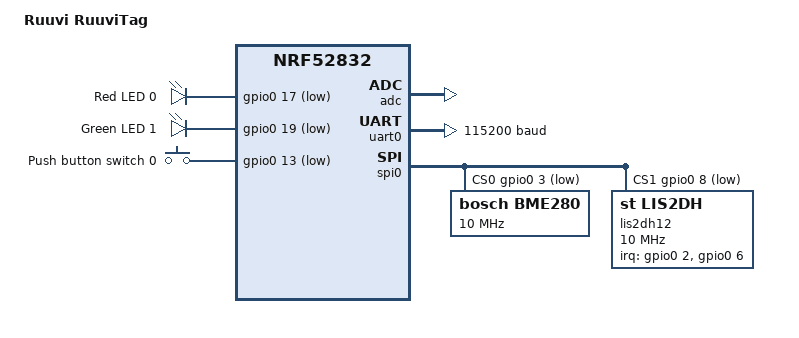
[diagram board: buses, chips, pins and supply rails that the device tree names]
/*
 * Copyright (c) 2020 Ruuvi Innovations Ltd (Oy)
 *
 * SPDX-License-Identifier: Apache-2.0
 */

/dts-v1/;
#include <nordic/nrf52832_qfaa.dtsi>
#include "ruuvi_ruuvitag-pinctrl.dtsi"
#include <zephyr/dt-bindings/input/input-event-codes.h>

/ {
	model = "Ruuvi RuuviTag";
	compatible = "ruuvi,ruuvitag";

	chosen {
		zephyr,console = &uart0;
		zephyr,shell-uart = &uart0;
		zephyr,uart-mcumgr = &uart0;
		zephyr,bt-mon-uart = &uart0;
		zephyr,bt-c2h-uart = &uart0;
		zephyr,sram = &sram0;
		zephyr,flash = &flash0;
		zephyr,code-partition = &slot0_partition;
	};

	/* These aliases are provided for compatibility with samples */
	aliases {
		led0 = &led0;
		led1 = &led1;
		sw0 = &button0;
		watchdog0 = &wdt0;
		accel0 = &lis2dh12;
	};

	leds {
		compatible = "gpio-leds";

		led0: led_0 {
			gpios = <&gpio0 17 GPIO_ACTIVE_LOW>;
			label = "Red LED 0";
		};

		led1: led_1 {
			gpios = <&gpio0 19 GPIO_ACTIVE_LOW>;
			label = "Green LED 1";
		};
	};

	buttons {
		compatible = "gpio-keys";

		button0: button_0 {
			gpios = <&gpio0 13 (GPIO_PULL_UP | GPIO_ACTIVE_LOW)>;
			label = "Push button switch 0";
			zephyr,code = <INPUT_KEY_0>;
		};
	};
};

&reg {
	regulator-initial-mode = <NRF5X_REG_MODE_DCDC>;
};

&adc {
	status = "okay";
};

&gpiote {
	status = "okay";
};

&gpio0 {
	status = "okay";
};

&uart0 {
	status = "okay";
	compatible = "nordic,nrf-uart";
	current-speed = <115200>;
	pinctrl-0 = <&uart0_default>;
	pinctrl-1 = <&uart0_sleep>;
	pinctrl-names = "default", "sleep";
};

&spi0 {
	compatible = "nordic,nrf-spi";
	status = "okay";
	cs-gpios = <&gpio0 3 GPIO_ACTIVE_LOW>, <&gpio0 8 GPIO_ACTIVE_LOW>;

	pinctrl-0 = <&spi0_default>;
	pinctrl-1 = <&spi0_sleep>;
	pinctrl-names = "default", "sleep";

	bme280@0 {
		compatible = "bosch,bme280";
		reg = <0>;
		spi-max-frequency = <10000000>;
	};

	lis2dh12: lis2dh12@1 {
		compatible = "st,lis2dh", "st,lis2dh12";
		reg = <1>;
		spi-max-frequency = <10000000>;
		irq-gpios = <&gpio0 2 GPIO_ACTIVE_HIGH>, <&gpio0 6 GPIO_ACTIVE_HIGH>;
	};
};

&flash0 {
	partitions {
		compatible = "fixed-partitions";
		#address-cells = <1>;
		#size-cells = <1>;

		boot_partition: partition@0 {
			label = "mcuboot";
			reg = <0x00000000 0xc000>;
		};

		slot0_partition: partition@c000 {
			label = "image-0";
			reg = <0x0000C000 0x32000>;
		};

		slot1_partition: partition@3e000 {
			label = "image-1";
			reg = <0x0003E000 0x32000>;
		};

		scratch_partition: partition@70000 {
			label = "image-scratch";
			reg = <0x00070000 0xa000>;
		};

		/*
		 * The flash starting at 0x0007a000 and ending at
		 * 0x0007ffff (sectors 122-127) is reserved for use
		 * by the application.
		 * Storage partition will be used by FCB/LittleFS/NVS
		 * if enabled.
		 */
		storage_partition: partition@7a000 {
			label = "storage";
			reg = <0x0007a000 0x00006000>;
		};
	};
};
